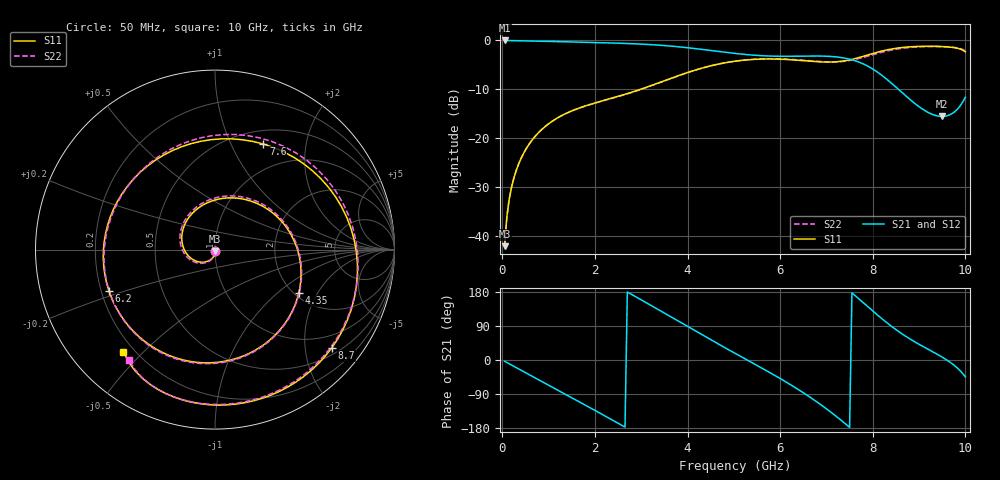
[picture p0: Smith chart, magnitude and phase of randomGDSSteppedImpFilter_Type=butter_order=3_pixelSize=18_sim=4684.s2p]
! freq	dB(S11)	phase(S11)	dB(S12)	phase(S12)
!  dB(S21)	phase(S21)	dB(S22)	phase(S22)
!S-par simulation data
#  GHz  S  DB  R 50
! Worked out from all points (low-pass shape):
!   200 points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, 50 MHz to 10 GHz, reference 50 ohm
!   highest |S21| = -0.03 dB at 50 MHz (marker M1); lowest = -15.6 dB at 9.5 GHz (marker M2)
!   |S21| within 3 dB of the highest: start of sweep to 5.415 GHz
!   lowest |S11| = -42.1 dB at 50 MHz (marker M3), VSWR 1.02, Z = 50.2 - j0.764 ohm
!   |S11| at or under -10 dB: start of sweep to 2.992 GHz
!   |S22| runs from -42.1 to -1.3 dB; largest |S21 - S12| = 0
!   S11 on the Smith chart (normalised r, x): 50 MHz: 1.00, -0.02; 4.35 GHz: 2.11, -1.41; 6.2 GHz: 0.23, -0.18; 7.6 GHz: 0.66, +1.34; 8.7 GHz: 0.66, -2.59; 10 GHz: 0.16, -0.44
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0.05  -42.10 -75.8  -0.03 -3.4  -0.03 -3.4  -42.09 -75.3
0.1  -35.97 -84.5  -0.04 -6.7  -0.04 -6.7  -35.96 -83.8
0.2  -30.04 -96.1  -0.06 -13.4  -0.06 -13.4  -30.03 -94.9
0.5  -22.44 -121.7  -0.12 -33.3  -0.12 -33.3  -22.43 -118.5
1.15  -16.11 -169.5  -0.25 -76.4  -0.25 -76.4  -16.11 -162.3
1.75  -13.55 148.4  -0.39 -116.2  -0.39 -116.2  -13.58 158.4
2.6  -11.19 90.4  -0.62 -173.6  -0.62 -173.6  -11.25 100.3
3.4  -8.62 36.9  -1.00 130.7  -1.00 130.7  -8.66 42.3
3.85  -7.07 6.6  -1.37 98.9  -1.37 98.9  -7.10 9.5
4.35  -5.59 -27.4  -1.90 63.9  -1.90 63.9  -5.59 -26.0
5.05  -4.25 -75.1  -2.71 16.1  -2.71 16.1  -4.23 -73.3
5.6  -3.84 -113.3  -3.14 -21.1  -3.14 -21.1  -3.80 -108.8
6.2  -3.95 -158.6  -3.27 -63.4  -3.27 -63.4  -3.88 -148.2
6.7  -4.32 157.9  -3.21 -102.7  -3.21 -102.7  -4.24 175.9
7.2  -4.40 107.9  -3.39 -147.6  -3.39 -147.6  -4.42 133.4
7.6  -3.78 65.4  -4.12 172.0  -4.12 172.0  -3.95 91.6
7.95  -2.83 28.7  -5.58 134.7  -5.58 134.7  -3.07 50.3
8.35  -1.87 -10.3  -8.34 94.0  -8.34 94.0  -2.09 3.7
8.7  -1.41 -40.1  -11.26 63.5  -11.26 63.5  -1.56 -31.6
9.1  -1.22 -69.3  -14.23 34.6  -14.23 34.6  -1.30 -64.7
9.5  -1.28 -95.4  -15.56 7.5  -15.56 7.5  -1.29 -92.5
10  -2.35 -131.9  -11.63 -44.8  -11.63 -44.8  -2.17 -128.1
